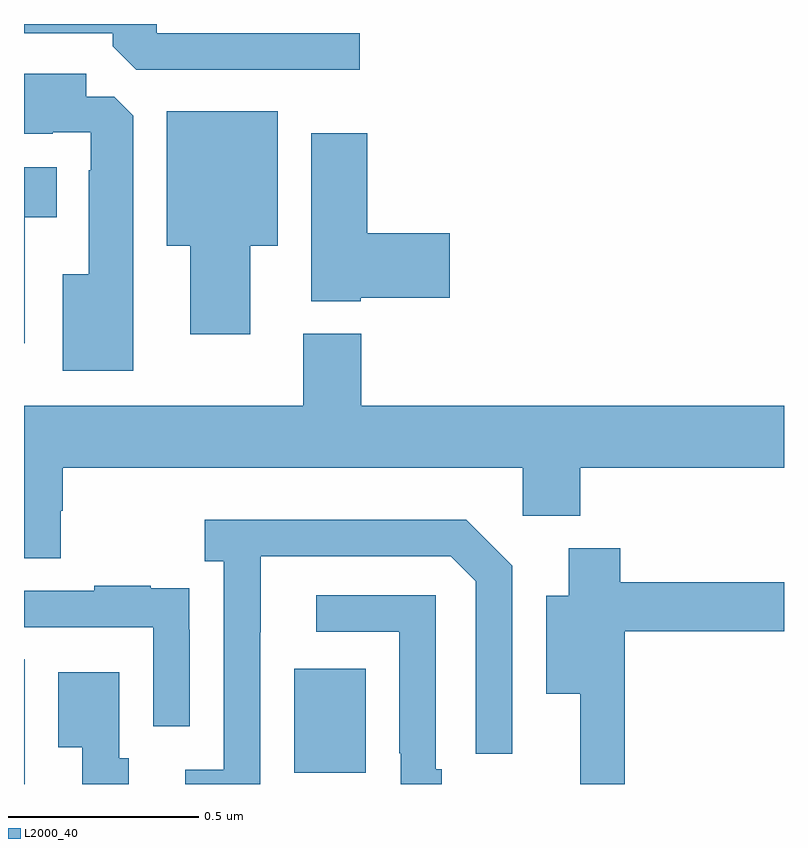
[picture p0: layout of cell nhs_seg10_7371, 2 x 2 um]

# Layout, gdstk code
import gdstk
lib = gdstk.Library(unit=1e-6, precision=1e-09)
def R(c, l, rs):  # rectangles x0, y0, x1, y1
    for r in rs: c.add(gdstk.rectangle(r[:2], r[2:], *l))
def P(c, l, *ps):  # polygons
    for p in ps: c.add(gdstk.Polygon(p, *l))
L2000_40 = (2000, 40)

nhs_seg10_7371 = lib.new_cell('nhs_seg10_7371')
R(nhs_seg10_7371, L2000_40, [(203,1283.5,203.002,1283.828), (203.711,1283.529,203.899,1283.803)])
P(nhs_seg10_7371, L2000_40, [(203.884,1285.476),(203.349,1285.476),(203.349,1285.5),(203,1285.5),(203,1285.476),(203.234,1285.476),(203.234,1285.442),(203.295,1285.38),(203.884,1285.38)],
  [(203.287,1285.259),(203.238,1285.308),(203.164,1285.308),(203.164,1285.369),(203,1285.369),(203,1285.211),(203.075,1285.211),(203.075,1285.215),(203.175,1285.215),(203.175,1285.115),(203.171,1285.115),(203.171,1284.841),(203.102,1284.841),(203.102,1284.587),(203.287,1284.587)],
  [(203.596,1284.917),(203.668,1284.917),(203.668,1285.27),(203.375,1285.27),(203.375,1284.917),(203.438,1284.917),(203.438,1284.684),(203.596,1284.684)],
  [(203.886,1284.779),(204.121,1284.779),(204.121,1284.95),(203.903,1284.95),(203.903,1285.213),(203.756,1285.213),(203.756,1284.77),(203.886,1284.77)],
  [(203.002,1284.992),(203.086,1284.992),(203.086,1285.123),(203,1285.123),(203,1284.66),(203.002,1284.66)],
  [(203.097,1284.219),(203.102,1284.219),(203.102,1284.332),(204.312,1284.332),(204.312,1284.206),(204.464,1284.206),(204.464,1284.332),(205,1284.332),(205,1284.496),(203.888,1284.496),(203.888,1284.685),(203.735,1284.685),(203.735,1284.496),(203,1284.496),(203,1284.094),(203.097,1284.094)],
  [(203.622,1283.899),(203.623,1283.899),(203.623,1284.099),(204.123,1284.099),(204.189,1284.033),(204.189,1283.58),(204.285,1283.58),(204.285,1284.075),(204.164,1284.196),(203.475,1284.196),(203.475,1284.086),(203.526,1284.086),(203.526,1283.538),(203.424,1283.538),(203.424,1283.5),(203.622,1283.5)],
  [(204.581,1283.902),(205,1283.902),(205,1284.031),(204.569,1284.031),(204.569,1284.121),(204.434,1284.121),(204.434,1283.995),(204.374,1283.995),(204.374,1283.738),(204.464,1283.738),(204.464,1283.5),(204.581,1283.5)],
  [(203.436,1283.906),(203.435,1283.906),(203.435,1284.015),(203.333,1284.015),(203.333,1284.022),(203.185,1284.022),(203.185,1284.009),(203,1284.009),(203,1283.913),(203.34,1283.913),(203.34,1283.652),(203.436,1283.652)],
  [(204.099,1283.539),(204.084,1283.539),(204.084,1283.997),(203.769,1283.997),(203.769,1283.901),(203.988,1283.901),(203.988,1283.581),(203.991,1283.581),(203.991,1283.5),(204.099,1283.5)],
  [(203.275,1283.568),(203.251,1283.568),(203.251,1283.794),(203.09,1283.794),(203.09,1283.597),(203.153,1283.597),(203.153,1283.5),(203.275,1283.5)])

lib.write_gds('nhs_seg10_7371.gds')
